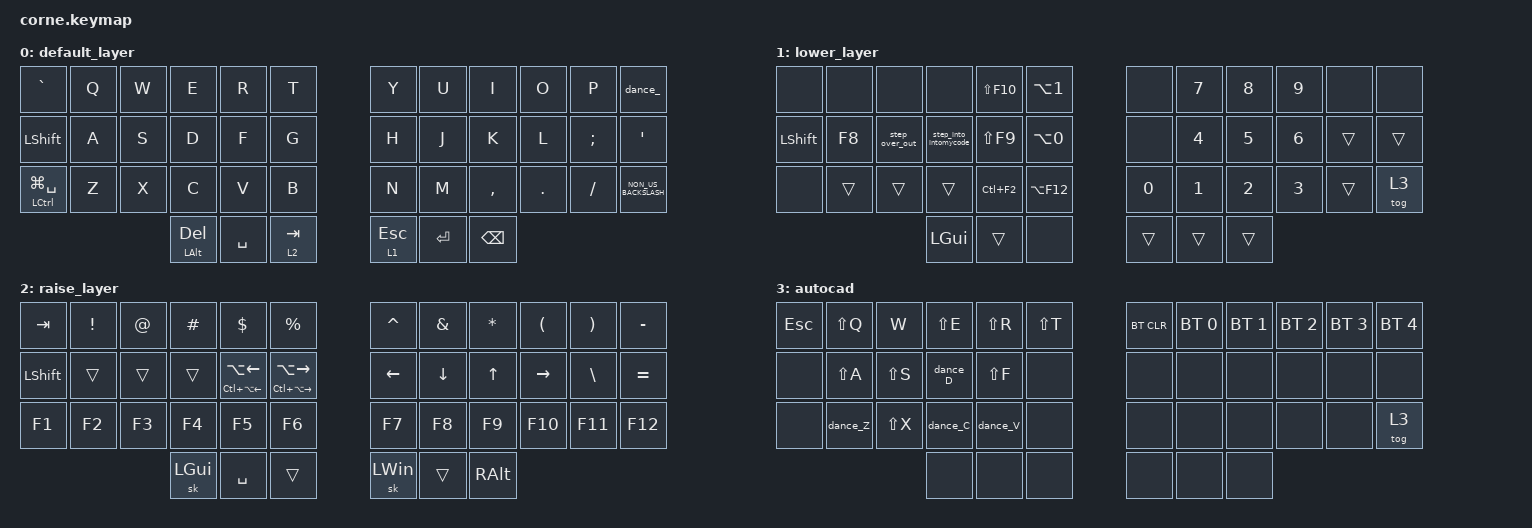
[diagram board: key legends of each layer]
/*
 * Copyright (c) 2020 The ZMK Contributors
 *
 * SPDX-License-Identifier: MIT
 */

#include <behaviors.dtsi>
#include <dt-bindings/zmk/bt.h>
#include <dt-bindings/zmk/keys.h>

/ {
    behaviors {
        dance_D: dance_D {
            compatible = "zmk,behavior-tap-dance";
            label = "DANCE_D";
            #binding-cells = <0>;
            bindings = <&kp LS(D)>, <&kp LC(D)>;
        };

        dance_Z: dance_Z {
            compatible = "zmk,behavior-tap-dance";
            label = "DANCE_Z";
            #binding-cells = <0>;
            bindings = <&kp LS(Z)>, <&kp LC(Z)>;
        };

        dance_C: dance_C {
            compatible = "zmk,behavior-tap-dance";
            label = "DANCE_C";
            #binding-cells = <0>;
            bindings = <&kp LC(C)>, <&kp LS(LC(C))>;
        };

        dance_V: dance_V {
            compatible = "zmk,behavior-tap-dance";
            label = "DANCE_V";
            #binding-cells = <0>;
            bindings = <&kp LC(V)>, <&kp LS(LC(V))>;
        };

        dance_: dance_ {
            compatible = "zmk,behavior-tap-dance";
            label = "DANCE_";
            #binding-cells = <0>;
            bindings = <&kp LEFT_BRACKET>, <&kp RIGHT_BRACKET>;
        };

        step_over_out: step_over_out {
            compatible = "zmk,behavior-tap-dance";
            label = "STEP_OVER_OUT";
            #binding-cells = <0>;
            bindings = <&kp F8>, <&kp LS(F8)>;
        };

        step_into_intomycode: step_into_intomycode {
            compatible = "zmk,behavior-tap-dance";
            label = "STEP_INTO_INTOMYCODE";
            #binding-cells = <0>;
            bindings = <&kp F7>, <&kp LA(LS(F7))>;
        };

        space_win: space_win {
            compatible = "zmk,behavior-tap-dance";
            label = "SPACE_WIN";
            #binding-cells = <0>;
            bindings = <&kt SPACE>, <&kp LEFT_WIN>;
        };
    };

    keymap {
        compatible = "zmk,keymap";

        default_layer {
            // -----------------------------------------------------------------------------------------
            // |  TAB |  Q  |  W  |  E  |  R  |  T  |   |  Y  |  U   |  I  |  O  |  P  | BKSP |
            // | CTRL |  A  |  S  |  D  |  F  |  G  |   |  H  |  J   |  K  |  L  |  ;  |  '   |
            // | SHFT |  Z  |  X  |  C  |  V  |  B  |   |  N  |  M   |  ,  |  .  |  /  | ESC  |
            //                    | GUI | LWR | SPC |   | ENT | RSE  | ALT |

            bindings = <
&kp GRAVE            &kp Q  &kp W  &kp E                &kp R      &kp T        &kp Y         &kp U      &kp I          &kp O    &kp P     &dance_
&kp LEFT_SHIFT       &kp A  &kp S  &kp D                &kp F      &kp G        &kp H         &kp J      &kp K          &kp L    &kp SEMI  &kp SQT
&mt LCTRL LG(SPACE)  &kp Z  &kp X  &kp C                &kp V      &kp B        &kp N         &kp M      &kp COMMA      &kp DOT  &kp FSLH  &kp NON_US_BACKSLASH
                                   &mt LEFT_ALT DELETE  &kp SPACE  &lt 2 TAB    &lt 1 ESCAPE  &kp ENTER  &kp BACKSPACE
            >;
        };

        lower_layer {
            // -----------------------------------------------------------------------------------------
            // |  TAB |  1  |  2  |  3  |  4  |  5  |   |  6  |  7  |  8  |  9  |  0  | BKSP |
            // | BTCLR| BT1 | BT2 | BT3 | BT4 | BT5 |   | LFT | DWN |  UP | RGT |     |      |
            // | SHFT |     |     |     |     |     |   |     |     |     |     |     |      |
            //                    | GUI |     | SPC |   | ENT |     | ALT |

            bindings = <
&none           &none   &none           &none                  &kp LS(F10)  &kp LA(NUMBER_1)    &none         &kp N7        &kp N8        &kp N9        &none   &none
&kp LEFT_SHIFT  &kp F8  &step_over_out  &step_into_intomycode  &kp LS(F9)   &kp LA(N0)          &none         &kp NUMBER_4  &kp NUMBER_5  &kp NUMBER_6  &trans  &trans
&none           &trans  &trans          &trans                 &kp LC(F2)   &kp LA(F12)         &kp NUMBER_0  &kp NUMBER_1  &kp NUMBER_2  &kp NUMBER_3  &trans  &tog 3
                                        &kp LGUI               &trans       &none               &trans        &trans        &trans
            >;
        };

        raise_layer {
            // -----------------------------------------------------------------------------------------
            // |  TAB |  !  |  @  |  #  |  $  |  %  |   |  ^  |  &  |  *  |  (  |  )  | BKSP |
            // | CTRL |     |     |     |     |     |   |  -  |  =  |  [  |  ]  |  \  |  `   |
            // | SHFT |     |     |     |     |     |   |  _  |  +  |  {  |  }  | "|" |  ~   |
            //                    | GUI |     | SPC |   | ENT |     | ALT |

            bindings = <
&kp TAB         &kp EXCL  &kp AT  &kp HASH  &kp DLLR                         &kp PRCNT                            &kp CARET       &kp AMPS        &kp ASTRK     &kp LPAR         &kp RPAR  &kp MINUS
&kp LEFT_SHIFT  &trans    &trans  &trans    &mt LC(LA(LEFT)) LA(LEFT_ARROW)  &mt LC(LA(RIGHT)) LA(RIGHT_ARROW)    &kp LEFT_ARROW  &kp DOWN_ARROW  &kp UP_ARROW  &kp RIGHT_ARROW  &kp BSLH  &kp EQUAL
&kp F1          &kp F2    &kp F3  &kp F4    &kp F5                           &kp F6                               &kp F7          &kp F8          &kp F9        &kp F10          &kp F11   &kp F12
                                  &sk LGUI  &kp SPACE                        &trans                               &sk LEFT_WIN    &trans          &kp RALT
            >;
        };

        autocad {
            bindings = <
&kp ESCAPE  &kp LS(Q)  &kp W      &kp LS(E)  &kp LS(R)  &kp LS(T)    &bt BT_CLR  &bt BT_SEL 0  &bt BT_SEL 1  &bt BT_SEL 2  &bt BT_SEL 3  &bt BT_SEL 4
&none       &kp LS(A)  &kp LS(S)  &dance_D   &kp LS(F)  &none        &none       &none         &none         &none         &none         &none
&none       &dance_Z   &kp LS(X)  &dance_C   &dance_V   &none        &none       &none         &none         &none         &none         &tog 3
                                  &none      &none      &none        &none       &none         &none
            >;
        };
    };
};
